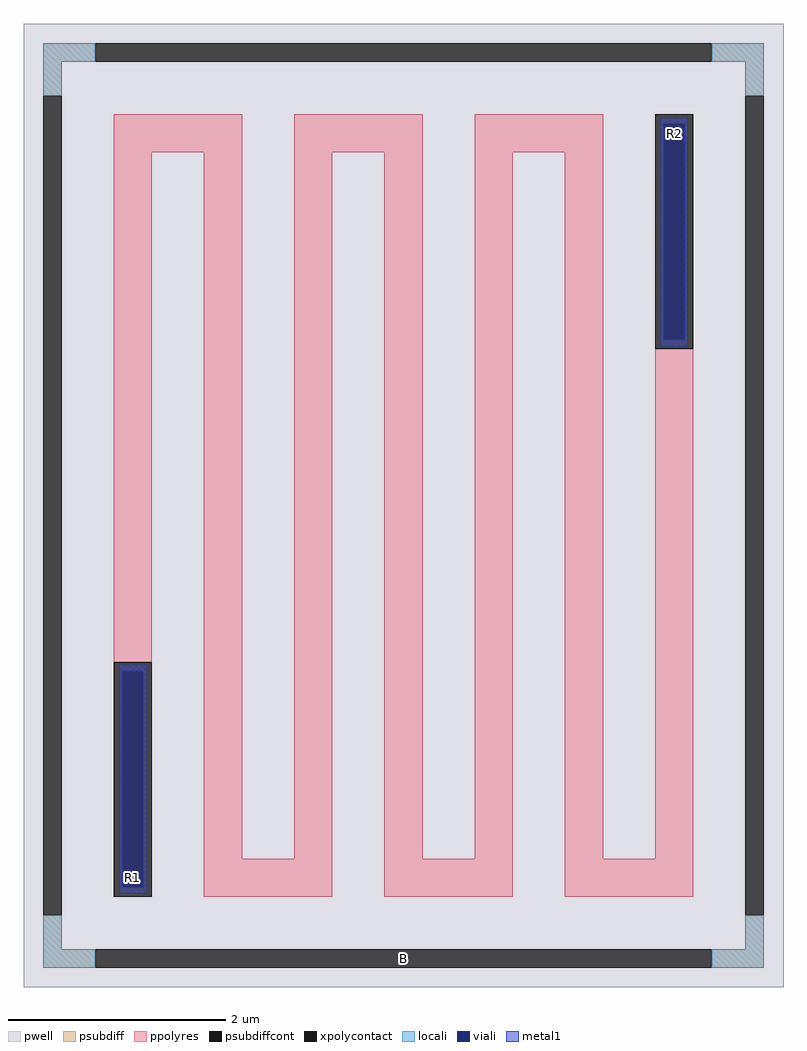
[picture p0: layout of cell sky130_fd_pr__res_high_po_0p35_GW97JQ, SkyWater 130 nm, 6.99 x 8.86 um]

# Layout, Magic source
magic
tech sky130A
magscale 1 2
<< pwell >>
rect -699 -886 699 886
<< psubdiff >>
rect -663 816 -567 850
rect 567 816 663 850
rect -663 754 -629 816
rect 629 754 663 816
rect -663 -816 -629 -754
rect 629 -816 663 -754
rect -663 -850 -567 -816
rect 567 -850 663 -816
<< psubdiffcont >>
rect -567 816 567 850
rect -663 -754 -629 754
rect 629 -754 663 754
rect -567 -850 567 -816
<< xpolycontact >>
rect -533 -720 -463 -288
rect 463 288 533 720
<< ppolyres >>
rect -533 650 -297 720
rect -533 -288 -463 650
rect -367 -650 -297 650
rect -201 650 35 720
rect -201 -650 -131 650
rect -367 -720 -131 -650
rect -35 -650 35 650
rect 131 650 367 720
rect 131 -650 201 650
rect -35 -720 201 -650
rect 297 -650 367 650
rect 463 -650 533 288
rect 297 -720 533 -650
<< locali >>
rect -663 816 -567 850
rect 567 816 663 850
rect -663 754 -629 816
rect 629 754 663 816
rect -663 -816 -629 -754
rect 629 -816 663 -754
rect -663 -850 -567 -816
rect 567 -850 663 -816
<< viali >>
rect 479 305 517 702
rect -517 -702 -479 -305
<< metal1 >>
rect 473 702 523 714
rect 473 305 479 702
rect 517 305 523 702
rect 473 293 523 305
rect -523 -305 -473 -293
rect -523 -702 -517 -305
rect -479 -702 -473 -305
rect -523 -714 -473 -702
<< labels >>
rlabel psubdiffcont 0 -833 0 -833 0 B
port 1 nsew
rlabel xpolycontact -498 -685 -498 -685 0 R1
port 2 nsew
rlabel xpolycontact 498 685 498 685 0 R2
port 3 nsew
<< properties >>
string FIXED_BBOX -646 -833 646 833
string gencell sky130_fd_pr__res_high_po_0p35
string library sky130
string parameters w 0.35 l 7.2 m 1 nx 7 wmin 0.350 lmin 0.50 class resistor rho 319.8 val 49.083k dummy 0 dw 0.0 term 194.82 sterm 0.0 caplen 0 guard 1 glc 1 grc 1 gtc 1 gbc 1 compatible {sky130_fd_pr__res_high_po_0p35  sky130_fd_pr__res_high_po_0p69 sky130_fd_pr__res_high_po_1p41  sky130_fd_pr__res_high_po_2p85 sky130_fd_pr__res_high_po_5p73} snake 1 full_metal 1 wmax 0.350 vias 1 n_guard 0 hv_guard 0 viagb 0 viagt 0 viagl 0 viagr 0 doports 1
<< end >>
